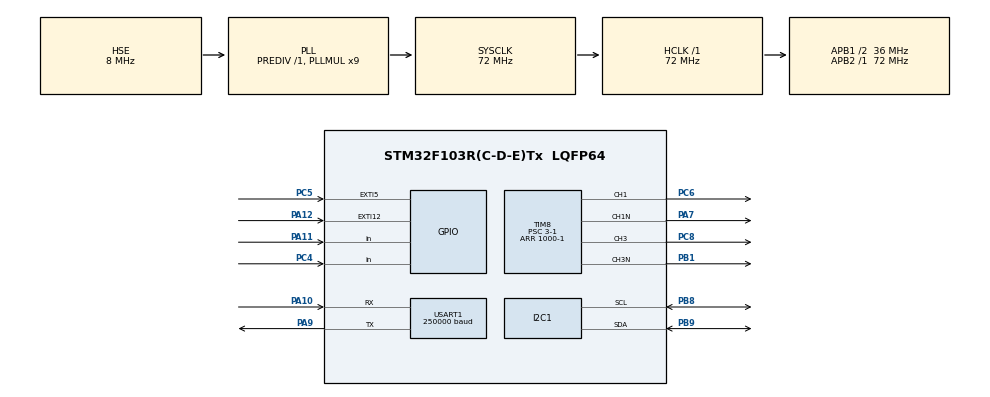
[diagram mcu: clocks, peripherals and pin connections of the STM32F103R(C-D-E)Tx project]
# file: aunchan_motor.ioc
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Dma.Request0=USART1_RX
Dma.Request1=USART1_TX
Dma.USART1_RX.0.Direction=DMA_PERIPH_TO_MEMORY
Dma.USART1_RX.0.Instance=DMA1_Channel5
Dma.USART1_RX.0.MemDataAlignment=DMA_MDATAALIGN_BYTE
Dma.USART1_RX.0.MemInc=DMA_MINC_ENABLE
Dma.USART1_RX.0.Mode=DMA_NORMAL
Dma.USART1_RX.0.PeriphDataAlignment=DMA_PDATAALIGN_BYTE
Dma.USART1_RX.0.PeriphInc=DMA_PINC_DISABLE
Dma.USART1_RX.0.Priority=DMA_PRIORITY_VERY_HIGH
Dma.USART1_TX.1.Direction=DMA_MEMORY_TO_PERIPH
Dma.USART1_TX.1.Instance=DMA1_Channel4
Dma.USART1_TX.1.MemDataAlignment=DMA_MDATAALIGN_BYTE
Dma.USART1_TX.1.MemInc=DMA_MINC_ENABLE
Dma.USART1_TX.1.Mode=DMA_NORMAL
Dma.USART1_TX.1.PeriphDataAlignment=DMA_PDATAALIGN_BYTE
Dma.USART1_TX.1.PeriphInc=DMA_PINC_DISABLE
Dma.USART1_TX.1.Priority=DMA_PRIORITY_VERY_HIGH
I2C1.I2C_Mode=I2C_Fast
I2C1.NoStretchMode=I2C_NOSTRETCH_DISABLE
Mcu.Family=STM32F1
Mcu.Name=STM32F103R(C-D-E)Tx
Mcu.Package=LQFP64
NVIC.DMA1_Channel4_IRQn=true\:0\:0\:false\:false\:true\:false
NVIC.DMA1_Channel5_IRQn=true\:0\:0\:false\:false\:true\:false
NVIC.EXTI15_10_IRQn=true\:0\:0\:false\:false\:true\:true
NVIC.EXTI9_5_IRQn=true\:0\:0\:false\:false\:true\:true
NVIC.PriorityGroup=NVIC_PRIORITYGROUP_4
NVIC.TIM6_IRQn=true\:0\:0\:true\:true\:true\:1\:true
NVIC.USART1_IRQn=true\:0\:0\:false\:false\:true\:true
PA10.GPIO_Mode=GPIO_MODE_INPUT
PA10.GPIO_PuPd=GPIO_NOPULL
PA10.Mode=Asynchronous
PA10.Signal=USART1_RX
PA11.Signal=GPIO_Input
PA12.GPIO_ModeDefaultEXTI=GPIO_MODE_IT_RISING_FALLING
PA12.GPIO_PuPd=GPIO_NOPULL
PA12.Signal=GPXTI12
PA13.Mode=Serial_Wire
PA13.Signal=SYS_JTMS-SWDIO
PA14.Mode=Serial_Wire
PA14.Signal=SYS_JTCK-SWCLK
PA7.GPIO_Speed=GPIO_SPEED_FREQ_HIGH
PA7.Mode=PWM Generation1 CH1 CH1N
PA7.Signal=TIM8_CH1N
PA9.Mode=Asynchronous
PA9.Signal=USART1_TX
PB1.GPIO_Speed=GPIO_SPEED_FREQ_HIGH
PB1.Mode=PWM Generation3 CH3 CH3N
PB1.Signal=TIM8_CH3N
PB8.GPIO_Mode=GPIO_MODE_AF_OD
PB8.GPIO_Speed=GPIO_SPEED_FREQ_HIGH
PB8.Mode=I2C
PB8.Signal=I2C1_SCL
PB9.GPIO_Mode=GPIO_MODE_AF_OD
PB9.GPIO_Speed=GPIO_SPEED_FREQ_HIGH
PB9.Mode=I2C
PB9.Signal=I2C1_SDA
PC4.Signal=GPIO_Input
PC5.GPIO_ModeDefaultEXTI=GPIO_MODE_IT_RISING_FALLING
PC5.GPIO_PuPd=GPIO_NOPULL
PC5.Signal=GPXTI5
PC6.GPIO_Speed=GPIO_SPEED_FREQ_HIGH
PC6.Signal=S_TIM8_CH1
PC8.GPIO_Speed=GPIO_SPEED_FREQ_HIGH
PC8.Signal=S_TIM8_CH3
PD0-OSC_IN.Mode=HSE-External-Oscillator
PD0-OSC_IN.Signal=RCC_OSC_IN
PD1-OSC_OUT.Mode=HSE-External-Oscillator
PD1-OSC_OUT.Signal=RCC_OSC_OUT
ProjectManager.HeapSize=0x200
ProjectManager.StackSize=0x400
ProjectManager.TargetToolchain=SW4STM32
RCC.ADCPresc=RCC_ADCPCLK2_DIV8
RCC.AHBFreq_Value=72000000
RCC.APB1CLKDivider=RCC_HCLK_DIV2
RCC.APB1Freq_Value=36000000
RCC.APB1TimFreq_Value=72000000
RCC.APB2Freq_Value=72000000
RCC.APB2TimFreq_Value=72000000
RCC.HCLKFreq_Value=72000000
RCC.PLLMUL=RCC_PLL_MUL9
RCC.PLLSourceVirtual=RCC_PLLSOURCE_HSE
RCC.SYSCLKFreq_VALUE=72000000
RCC.SYSCLKSource=RCC_SYSCLKSOURCE_PLLCLK
RCC.USBFreq_Value=72000000
SH.S_TIM8_CH1.0=TIM8_CH1,PWM Generation1 CH1 CH1N
SH.S_TIM8_CH3.0=TIM8_CH3,PWM Generation3 CH3 CH3N
TIM6.Period=1000-1
TIM6.Prescaler=720-1
TIM8.Channel-PWM\ Generation1\ CH1\ CH1N=TIM_CHANNEL_1
TIM8.Channel-PWM\ Generation3\ CH3\ CH3N=TIM_CHANNEL_3
TIM8.DeadTime=72
TIM8.Period=1000-1
TIM8.Prescaler=3-1
TIM8.Pulse-PWM\ Generation1\ CH1\ CH1N=0
TIM8.Pulse-PWM\ Generation3\ CH3\ CH3N=0
USART1.BaudRate=250000
USART1.VirtualMode=VM_ASYNC
VP_TIM6_VS_ClockSourceINT.Mode=Enable_Timer
board=aunchan_motor

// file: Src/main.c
/**
  ******************************************************************************
  * @file           : main.c
  * @brief          : Main program body
  ******************************************************************************
  ** This notice applies to any and all portions of this file
  * that are not between comment pairs USER CODE BEGIN and
  * USER CODE END. Other portions of this file, whether
  * inserted by the user or by software development tools
  * are owned by their respective copyright owners.
  *
  * COPYRIGHT(c) 2018 STMicroelectronics
  *
  * Redistribution and use in source and binary forms, with or without modification,
  * are permitted provided that the following conditions are met:
  *   1. Redistributions of source code must retain the above copyright notice,
  *      this list of conditions and the following disclaimer.
  *   2. Redistributions in binary form must reproduce the above copyright notice,
  *      this list of conditions and the following disclaimer in the documentation
  *      and/or other materials provided with the distribution.
  *   3. Neither the name of STMicroelectronics nor the names of its contributors
  *      may be used to endorse or promote products derived from this software
  *      without specific prior written permission.
  *
  * THIS SOFTWARE IS PROVIDED BY THE COPYRIGHT HOLDERS AND CONTRIBUTORS "AS IS"
  * AND ANY EXPRESS OR IMPLIED WARRANTIES, INCLUDING, BUT NOT LIMITED TO, THE
  * IMPLIED WARRANTIES OF MERCHANTABILITY AND FITNESS FOR A PARTICULAR PURPOSE ARE
  * DISCLAIMED. IN NO EVENT SHALL THE COPYRIGHT HOLDER OR CONTRIBUTORS BE LIABLE
  * FOR ANY DIRECT, INDIRECT, INCIDENTAL, SPECIAL, EXEMPLARY, OR CONSEQUENTIAL
  * DAMAGES (INCLUDING, BUT NOT LIMITED TO, PROCUREMENT OF SUBSTITUTE GOODS OR
  * SERVICES; LOSS OF USE, DATA, OR PROFITS; OR BUSINESS INTERRUPTION) HOWEVER
  * CAUSED AND ON ANY THEORY OF LIABILITY, WHETHER IN CONTRACT, STRICT LIABILITY,
  * OR TORT (INCLUDING NEGLIGENCE OR OTHERWISE) ARISING IN ANY WAY OUT OF THE USE
  * OF THIS SOFTWARE, EVEN IF ADVISED OF THE POSSIBILITY OF SUCH DAMAGE.
  *
  ******************************************************************************
  */
#include "main.h"
#include "stm32f1xx_hal.h"

/* USER CODE BEGIN Includes */
#include "mainpp.h"
#include "mpu6050.h"
/* USER CODE END Includes */

I2C_HandleTypeDef hi2c1;

TIM_HandleTypeDef htim6;
TIM_HandleTypeDef htim8;

UART_HandleTypeDef huart1;
DMA_HandleTypeDef hdma_usart1_rx;
DMA_HandleTypeDef hdma_usart1_tx;

/* USER CODE BEGIN PV */
/* Private variables ---------------------------------------------------------*/
typedef struct Encoder
{
	//uint8_t signalA;
	//uint8_t signalB;
	//uint8_t currentState;
	//uint8_t previousState;
	int steps;
	int pre_steps;
}Encoder;
typedef struct Motor
{
	int PWM;
	float velocity;
	float Kp;
	float Ki;
	float Kd;
	float error;
	float error_prior;
	float integral;
	float derivative;
	Encoder encoder;
	float angle,preAngle;
}Motor;
Motor M1, M2;
/*------ Imu ------*/
Imu mpu6050;
/*------ RTOS ------*/
int nowTick = 0;
int lastTickROS = 0;
int lastTickIMU = 0;
FlagStatus debugFlag = RESET;

/* USER CODE END PV */

void SystemClock_Config(void);
static void MX_GPIO_Init(void);
static void MX_DMA_Init(void);
static void MX_USART1_UART_Init(void);
static void MX_TIM8_Init(void);
static void MX_I2C1_Init(void);
static void MX_TIM6_Init(void);
static void MX_NVIC_Init(void);

void HAL_TIM_MspPostInit(TIM_HandleTypeDef *htim);

/* USER CODE BEGIN PFP */
/* Private function prototypes -----------------------------------------------*/
void setPWM(TIM_HandleTypeDef * _timer, uint32_t _channel, uint16_t _pulse);
/* USER CODE END PFP */

int main(void)
{

  /* MCU Configuration----------------------------------------------------------*/

  /* Reset of all peripherals, Initializes the Flash interface and the Systick. */
  HAL_Init();

  /* Configure the system clock */
  SystemClock_Config();

  /* Initialize all configured peripherals */
  MX_GPIO_Init();
  MX_DMA_Init();
  MX_USART1_UART_Init();
  MX_TIM8_Init();
  MX_I2C1_Init();
  MX_TIM6_Init();

  /* Initialize interrupts */
  MX_NVIC_Init();
  /* USER CODE BEGIN 2 */
  HAL_TIM_PWM_Stop(&htim8,TIM_CHANNEL_3);
  HAL_TIMEx_PWMN_Stop(&htim8,TIM_CHANNEL_3);
  HAL_TIM_PWM_Stop(&htim8,TIM_CHANNEL_1);
  HAL_TIMEx_PWMN_Stop(&htim8,TIM_CHANNEL_1);
  HAL_TIM_Base_Start_IT(&htim6);

  mpu6050_init();
  setup();
  HAL_Delay(1000);
  M1.encoder.steps = 0;
  M2.encoder.steps = 0;
  /* USER CODE END 2 */

  /* Infinite loop */
  while (1)
  {

  /* USER CODE BEGIN 3 */
	  nowTick = HAL_GetTick();
	  if ((nowTick - lastTickROS) >= 50) //20Hz
	  {
		  int64_t enc[2];
		  enc[0] = M1.encoder.steps;
		  enc[1] = M2.encoder.steps;
		  encoder2ros(enc);
		  loop();
		  lastTickROS = nowTick;
	  }
	  if ((nowTick - lastTickIMU) >= 10) //100Hz
	  {
		  mpu6050_read(mpu6050.gyro, mpu6050.accel, mpu6050.quat);
	      mpu6050.gyro[0] = (mpu6050.gyro[0] * PI)/180;
	      mpu6050.gyro[1] = (mpu6050.gyro[1] * PI)/180;
	      mpu6050.gyro[2] = (mpu6050.gyro[2] * PI)/180;
	      mpu6050.accel[0] = mpu6050.accel[0] * 9.80665;
	      mpu6050.accel[1] = mpu6050.accel[1] * 9.80665;
	      mpu6050.accel[2] = mpu6050.accel[2] * 9.80665;
	      imu2ros(mpu6050);
		  lastTickIMU = nowTick;

	  }

	  if(debugFlag == SET)
	  {
		  debugFlag = RESET;
		  int16_t PWM[2];
		  ros2pwm(PWM);
		  setPWM(&htim8,TIM_CHANNEL_3,PWM[0]);
		  setPWM(&htim8,TIM_CHANNEL_1,PWM[1]);
	  }

  }
  /* USER CODE END 3 */

}

void SystemClock_Config(void)
{

  RCC_OscInitTypeDef RCC_OscInitStruct;
  RCC_ClkInitTypeDef RCC_ClkInitStruct;

    /**Initializes the CPU, AHB and APB busses clocks
    */
  RCC_OscInitStruct.OscillatorType = RCC_OSCILLATORTYPE_HSE;
  RCC_OscInitStruct.HSEState = RCC_HSE_ON;
  RCC_OscInitStruct.HSEPredivValue = RCC_HSE_PREDIV_DIV1;
  RCC_OscInitStruct.HSIState = RCC_HSI_ON;
  RCC_OscInitStruct.PLL.PLLState = RCC_PLL_ON;
  RCC_OscInitStruct.PLL.PLLSource = RCC_PLLSOURCE_HSE;
  RCC_OscInitStruct.PLL.PLLMUL = RCC_PLL_MUL9;
  if (HAL_RCC_OscConfig(&RCC_OscInitStruct) != HAL_OK)
  {
    _Error_Handler(__FILE__, __LINE__);
  }

    /**Initializes the CPU, AHB and APB busses clocks
    */
  RCC_ClkInitStruct.ClockType = RCC_CLOCKTYPE_HCLK|RCC_CLOCKTYPE_SYSCLK
                              |RCC_CLOCKTYPE_PCLK1|RCC_CLOCKTYPE_PCLK2;
  RCC_ClkInitStruct.SYSCLKSource = RCC_SYSCLKSOURCE_PLLCLK;
  RCC_ClkInitStruct.AHBCLKDivider = RCC_SYSCLK_DIV1;
  RCC_ClkInitStruct.APB1CLKDivider = RCC_HCLK_DIV2;
  RCC_ClkInitStruct.APB2CLKDivider = RCC_HCLK_DIV1;

  if (HAL_RCC_ClockConfig(&RCC_ClkInitStruct, FLASH_LATENCY_2) != HAL_OK)
  {
    _Error_Handler(__FILE__, __LINE__);
  }

    /**Configure the Systick interrupt time
    */
  HAL_SYSTICK_Config(HAL_RCC_GetHCLKFreq()/1000);

    /**Configure the Systick
    */
  HAL_SYSTICK_CLKSourceConfig(SYSTICK_CLKSOURCE_HCLK);

  /* SysTick_IRQn interrupt configuration */
  HAL_NVIC_SetPriority(SysTick_IRQn, 0, 0);
}

/**
  * @brief NVIC Configuration.
  * @retval None
  */
static void MX_NVIC_Init(void)
{
  /* TIM6_IRQn interrupt configuration */
  HAL_NVIC_SetPriority(TIM6_IRQn, 0, 0);
  HAL_NVIC_EnableIRQ(TIM6_IRQn);
}

/* I2C1 init function */
static void MX_I2C1_Init(void)
{

  hi2c1.Instance = I2C1;
  hi2c1.Init.ClockSpeed = 400000;
  hi2c1.Init.DutyCycle = I2C_DUTYCYCLE_2;
  hi2c1.Init.OwnAddress1 = 0;
  hi2c1.Init.AddressingMode = I2C_ADDRESSINGMODE_7BIT;
  hi2c1.Init.DualAddressMode = I2C_DUALADDRESS_DISABLE;
  hi2c1.Init.OwnAddress2 = 0;
  hi2c1.Init.GeneralCallMode = I2C_GENERALCALL_DISABLE;
  hi2c1.Init.NoStretchMode = I2C_NOSTRETCH_DISABLE;
  if (HAL_I2C_Init(&hi2c1) != HAL_OK)
  {
    _Error_Handler(__FILE__, __LINE__);
  }

}

/* TIM6 init function */
static void MX_TIM6_Init(void)
{

  TIM_MasterConfigTypeDef sMasterConfig;

  htim6.Instance = TIM6;
  htim6.Init.Prescaler = 720-1;
  htim6.Init.CounterMode = TIM_COUNTERMODE_UP;
  htim6.Init.Period = 1000-1;
  htim6.Init.AutoReloadPreload = TIM_AUTORELOAD_PRELOAD_DISABLE;
  if (HAL_TIM_Base_Init(&htim6) != HAL_OK)
  {
    _Error_Handler(__FILE__, __LINE__);
  }

  sMasterConfig.MasterOutputTrigger = TIM_TRGO_RESET;
  sMasterConfig.MasterSlaveMode = TIM_MASTERSLAVEMODE_DISABLE;
  if (HAL_TIMEx_MasterConfigSynchronization(&htim6, &sMasterConfig) != HAL_OK)
  {
    _Error_Handler(__FILE__, __LINE__);
  }

}

/* TIM8 init function */
static void MX_TIM8_Init(void)
{

  TIM_MasterConfigTypeDef sMasterConfig;
  TIM_OC_InitTypeDef sConfigOC;
  TIM_BreakDeadTimeConfigTypeDef sBreakDeadTimeConfig;

  htim8.Instance = TIM8;
  htim8.Init.Prescaler = 3-1;
  htim8.Init.CounterMode = TIM_COUNTERMODE_UP;
  htim8.Init.Period = 1000-1;
  htim8.Init.ClockDivision = TIM_CLOCKDIVISION_DIV1;
  htim8.Init.RepetitionCounter = 0;
  htim8.Init.AutoReloadPreload = TIM_AUTORELOAD_PRELOAD_DISABLE;
  if (HAL_TIM_PWM_Init(&htim8) != HAL_OK)
  {
    _Error_Handler(__FILE__, __LINE__);
  }

  sMasterConfig.MasterOutputTrigger = TIM_TRGO_RESET;
  sMasterConfig.MasterSlaveMode = TIM_MASTERSLAVEMODE_DISABLE;
  if (HAL_TIMEx_MasterConfigSynchronization(&htim8, &sMasterConfig) != HAL_OK)
  {
    _Error_Handler(__FILE__, __LINE__);
  }

  sConfigOC.OCMode = TIM_OCMODE_PWM1;
  sConfigOC.Pulse = 0;
  sConfigOC.OCPolarity = TIM_OCPOLARITY_HIGH;
  sConfigOC.OCNPolarity = TIM_OCNPOLARITY_HIGH;
  sConfigOC.OCFastMode = TIM_OCFAST_DISABLE;
  sConfigOC.OCIdleState = TIM_OCIDLESTATE_RESET;
  sConfigOC.OCNIdleState = TIM_OCNIDLESTATE_RESET;
  if (HAL_TIM_PWM_ConfigChannel(&htim8, &sConfigOC, TIM_CHANNEL_1) != HAL_OK)
  {
    _Error_Handler(__FILE__, __LINE__);
  }

  if (HAL_TIM_PWM_ConfigChannel(&htim8, &sConfigOC, TIM_CHANNEL_3) != HAL_OK)
  {
    _Error_Handler(__FILE__, __LINE__);
  }

  sBreakDeadTimeConfig.OffStateRunMode = TIM_OSSR_DISABLE;
  sBreakDeadTimeConfig.OffStateIDLEMode = TIM_OSSI_DISABLE;
  sBreakDeadTimeConfig.LockLevel = TIM_LOCKLEVEL_OFF;
  sBreakDeadTimeConfig.DeadTime = 72;
  sBreakDeadTimeConfig.BreakState = TIM_BREAK_DISABLE;
  sBreakDeadTimeConfig.BreakPolarity = TIM_BREAKPOLARITY_HIGH;
  sBreakDeadTimeConfig.AutomaticOutput = TIM_AUTOMATICOUTPUT_DISABLE;
  if (HAL_TIMEx_ConfigBreakDeadTime(&htim8, &sBreakDeadTimeConfig) != HAL_OK)
  {
    _Error_Handler(__FILE__, __LINE__);
  }

  HAL_TIM_MspPostInit(&htim8);

}

/* USART1 init function */
static void MX_USART1_UART_Init(void)
{

  huart1.Instance = USART1;
  huart1.Init.BaudRate = 250000;
  huart1.Init.WordLength = UART_WORDLENGTH_8B;
  huart1.Init.StopBits = UART_STOPBITS_1;
  huart1.Init.Parity = UART_PARITY_NONE;
  huart1.Init.Mode = UART_MODE_TX_RX;
  huart1.Init.HwFlowCtl = UART_HWCONTROL_NONE;
  huart1.Init.OverSampling = UART_OVERSAMPLING_16;
  if (HAL_UART_Init(&huart1) != HAL_OK)
  {
    _Error_Handler(__FILE__, __LINE__);
  }

}

static void MX_DMA_Init(void)
{
  /* DMA controller clock enable */
  __HAL_RCC_DMA1_CLK_ENABLE();

  /* DMA interrupt init */
  /* DMA1_Channel4_IRQn interrupt configuration */
  HAL_NVIC_SetPriority(DMA1_Channel4_IRQn, 0, 0);
  HAL_NVIC_EnableIRQ(DMA1_Channel4_IRQn);
  /* DMA1_Channel5_IRQn interrupt configuration */
  HAL_NVIC_SetPriority(DMA1_Channel5_IRQn, 0, 0);
  HAL_NVIC_EnableIRQ(DMA1_Channel5_IRQn);

}

/** Configure pins as
        * Analog
        * Input
        * Output
        * EVENT_OUT
        * EXTI
*/
static void MX_GPIO_Init(void)
{

  GPIO_InitTypeDef GPIO_InitStruct;

  /* GPIO Ports Clock Enable */
  __HAL_RCC_GPIOD_CLK_ENABLE();
  __HAL_RCC_GPIOA_CLK_ENABLE();
  __HAL_RCC_GPIOC_CLK_ENABLE();
  __HAL_RCC_GPIOB_CLK_ENABLE();

  /*Configure GPIO pin : PC4 */
  GPIO_InitStruct.Pin = GPIO_PIN_4;
  GPIO_InitStruct.Mode = GPIO_MODE_INPUT;
  GPIO_InitStruct.Pull = GPIO_NOPULL;
  HAL_GPIO_Init(GPIOC, &GPIO_InitStruct);

  /*Configure GPIO pin : PC5 */
  GPIO_InitStruct.Pin = GPIO_PIN_5;
  GPIO_InitStruct.Mode = GPIO_MODE_IT_RISING_FALLING;
  GPIO_InitStruct.Pull = GPIO_NOPULL;
  HAL_GPIO_Init(GPIOC, &GPIO_InitStruct);

  /*Configure GPIO pin : PA11 */
  GPIO_InitStruct.Pin = GPIO_PIN_11;
  GPIO_InitStruct.Mode = GPIO_MODE_INPUT;
  GPIO_InitStruct.Pull = GPIO_NOPULL;
  HAL_GPIO_Init(GPIOA, &GPIO_InitStruct);

  /*Configure GPIO pin : PA12 */
  GPIO_InitStruct.Pin = GPIO_PIN_12;
  GPIO_InitStruct.Mode = GPIO_MODE_IT_RISING_FALLING;
  GPIO_InitStruct.Pull = GPIO_NOPULL;
  HAL_GPIO_Init(GPIOA, &GPIO_InitStruct);

  /* EXTI interrupt init*/
  HAL_NVIC_SetPriority(EXTI9_5_IRQn, 0, 0);
  HAL_NVIC_EnableIRQ(EXTI9_5_IRQn);

  HAL_NVIC_SetPriority(EXTI15_10_IRQn, 0, 0);
  HAL_NVIC_EnableIRQ(EXTI15_10_IRQn);

}

/* USER CODE BEGIN 4 */
void HAL_GPIO_EXTI_Callback(uint16_t GPIO_Pin)
{
	if(GPIO_Pin == GPIO_PIN_12){
		if(HAL_GPIO_ReadPin(GPIOA,GPIO_PIN_12) == 1)
			HAL_GPIO_ReadPin(GPIOA,GPIO_PIN_11) == 1 ? M1.encoder.steps-- : M1.encoder.steps++;
		else
			HAL_GPIO_ReadPin(GPIOA,GPIO_PIN_11) == 1 ? M1.encoder.steps++ : M1.encoder.steps--;
	}
	if(GPIO_Pin == GPIO_PIN_5){
		if(HAL_GPIO_ReadPin(GPIOC,GPIO_PIN_5) == 1)
			HAL_GPIO_ReadPin(GPIOC,GPIO_PIN_4) == 1 ?  M2.encoder.steps-- : M2.encoder.steps++;
		else
			HAL_GPIO_ReadPin(GPIOC,GPIO_PIN_4) == 1 ?  M2.encoder.steps++ : M2.encoder.steps--;
	}
}
void HAL_TIM_PeriodElapsedCallback(TIM_HandleTypeDef *htim)
{
	if(htim->Instance == TIM6){
		 debugFlag = SET;
	}
}
void setPWM(TIM_HandleTypeDef * _timer, uint32_t _channel, uint16_t _pulse)
{
	TIM_OC_InitTypeDef sConfigOC;
	sConfigOC.OCMode = TIM_OCMODE_PWM1;
	sConfigOC.Pulse = _pulse;
	sConfigOC.OCPolarity = TIM_OCPOLARITY_HIGH;
	sConfigOC.OCNPolarity = TIM_OCNPOLARITY_HIGH;
	sConfigOC.OCFastMode = TIM_OCFAST_DISABLE;
	sConfigOC.OCIdleState = TIM_OCIDLESTATE_RESET;
	sConfigOC.OCNIdleState = TIM_OCNIDLESTATE_RESET;
	HAL_TIM_PWM_ConfigChannel(_timer, &sConfigOC, _channel);

	HAL_TIM_PWM_Start(_timer, _channel);
	HAL_TIMEx_PWMN_Start(_timer,_channel);
}
/* USER CODE END 4 */

void _Error_Handler(char *file, int line)
{
  while(1)
  {
  }
}

/************************ (C) COPYRIGHT STMicroelectronics *****END OF FILE****/
